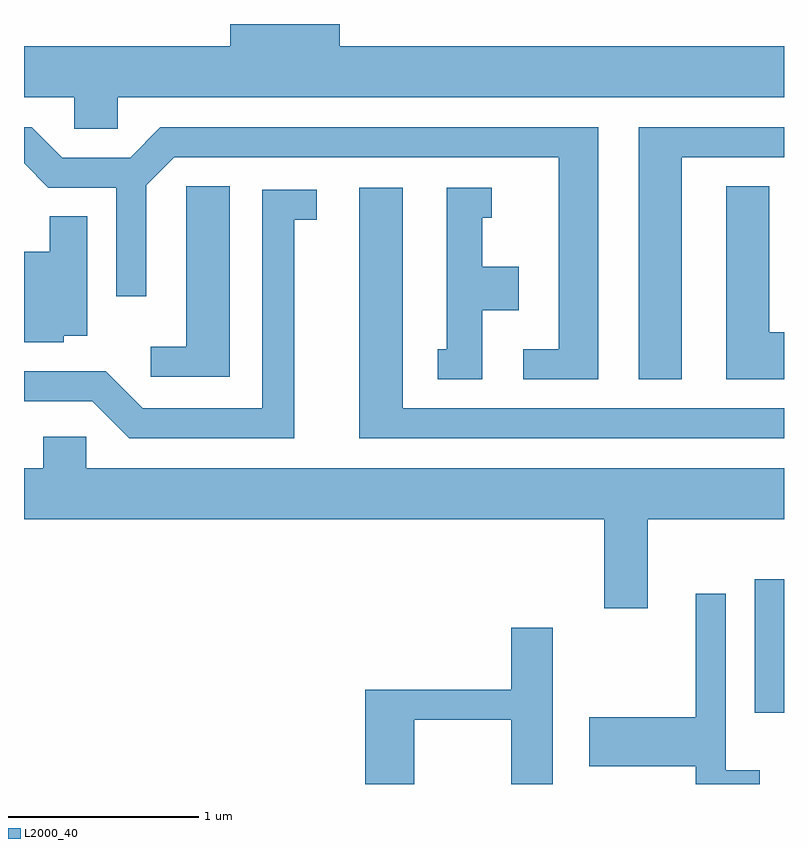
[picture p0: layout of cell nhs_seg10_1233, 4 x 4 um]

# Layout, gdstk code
import gdstk
lib = gdstk.Library(unit=1e-6, precision=1e-09)
def R(c, l, rs):  # rectangles x0, y0, x1, y1
    for r in rs: c.add(gdstk.rectangle(r[:2], r[2:], *l))
def P(c, l, *ps):  # polygons
    for p in ps: c.add(gdstk.Polygon(p, *l))
L2000_40 = (2000, 40)

nhs_seg10_1233 = lib.new_cell('nhs_seg10_1233')
R(nhs_seg10_1233, L2000_40, [(225.456,2112.898,225.611,2113.599)])
P(nhs_seg10_1233, L2000_40, [(222.104,2116.136),(225.611,2116.136),(225.611,2116.404),(223.274,2116.404),(223.274,2116.522),(222.696,2116.522),(222.696,2116.404),(221.611,2116.404),(221.611,2116.136),(221.876,2116.136),(221.876,2115.971),(222.104,2115.971)],
  [(224.634,2115.979),(222.329,2115.979),(222.169,2115.819),(221.812,2115.819),(221.652,2115.979),(221.611,2115.979),(221.611,2115.789),(221.739,2115.661),(222.096,2115.661),(222.096,2115.088),(222.254,2115.088),(222.254,2115.674),(222.402,2115.821),(224.426,2115.821),(224.426,2114.809),(224.238,2114.809),(224.238,2114.651),(224.634,2114.651)],
  [(225.074,2115.821),(225.611,2115.821),(225.611,2115.979),(224.846,2115.979),(224.846,2114.651),(225.074,2114.651)],
  [(222.694,2115.669),(222.466,2115.669),(222.466,2114.824),(222.278,2114.824),(222.278,2114.666),(222.694,2114.666)],
  [(225.611,2114.899),(225.534,2114.899),(225.534,2115.669),(225.306,2115.669),(225.306,2114.651),(225.611,2114.651)],
  [(225.611,2114.499),(223.604,2114.499),(223.604,2115.659),(223.376,2115.659),(223.376,2114.341),(225.611,2114.341)],
  [(224.024,2115.016),(224.214,2115.016),(224.214,2115.244),(224.024,2115.244),(224.024,2115.501),(224.073,2115.501),(224.073,2115.659),(223.836,2115.659),(223.836,2114.809),(223.788,2114.809),(223.788,2114.651),(224.024,2114.651)],
  [(223.034,2115.491),(223.153,2115.491),(223.153,2115.649),(222.866,2115.649),(222.866,2114.499),(222.237,2114.499),(222.042,2114.694),(221.611,2114.694),(221.611,2114.536),(221.969,2114.536),(222.164,2114.341),(223.034,2114.341)],
  [(221.819,2114.881),(221.944,2114.881),(221.944,2115.509),(221.746,2115.509),(221.746,2115.324),(221.611,2115.324),(221.611,2114.846),(221.819,2114.846)],
  [(224.894,2113.916),(225.611,2113.916),(225.611,2114.184),(221.939,2114.184),(221.939,2114.349),(221.711,2114.349),(221.711,2114.184),(221.611,2114.184),(221.611,2113.916),(224.666,2113.916),(224.666,2113.446),(224.894,2113.446)],
  [(225.484,2112.594),(225.304,2112.594),(225.304,2113.523),(225.146,2113.523),(225.146,2112.874),(224.586,2112.874),(224.586,2112.616),(225.146,2112.616),(225.146,2112.522),(225.484,2112.522)],
  [(223.664,2112.861),(224.176,2112.861),(224.176,2112.522),(224.394,2112.522),(224.394,2113.344),(224.176,2113.344),(224.176,2113.019),(223.406,2113.019),(223.406,2112.522),(223.664,2112.522)])

lib.write_gds('nhs_seg10_1233.gds')
